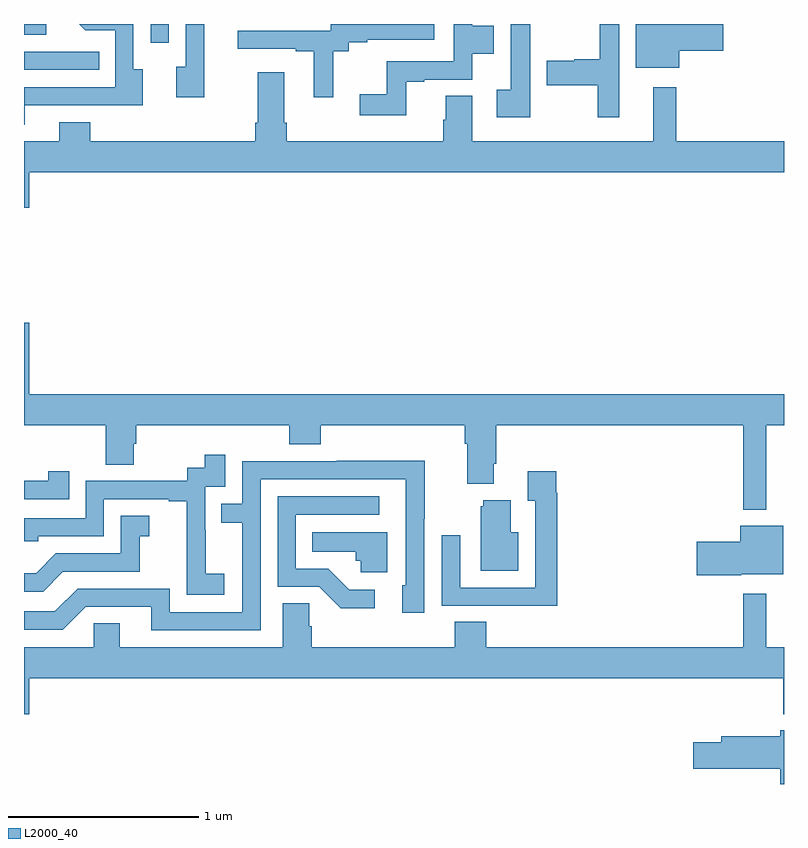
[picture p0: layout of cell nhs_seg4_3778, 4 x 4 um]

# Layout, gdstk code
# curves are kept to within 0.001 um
import gdstk
lib = gdstk.Library(unit=1e-6, precision=1e-09)
def R(c, l, rs):  # rectangles x0, y0, x1, y1
    for r in rs: c.add(gdstk.rectangle(r[:2], r[2:], *l))
def P(c, l, *ps):  # polygons
    for p in ps: c.add(gdstk.Polygon(p, *l))
L2000_40 = (2000, 40)

nhs_seg4_3778 = lib.new_cell('nhs_seg4_3778')
R(nhs_seg4_3778, L2000_40, [(309,830.658,309.395,830.754), (309.666,830.802,309.762,830.9), (309,830.843,309.118,830.9)])
P(nhs_seg4_3778, L2000_40, [(309.949,830.9),(309.852,830.9),(309.852,830.675),(309.801,830.675),(309.801,830.514),(309.949,830.514)],
  [(312.133,830.9),(312.029,830.9),(312.029,830.715),(311.895,830.715),(311.895,830.707),(311.75,830.707),(311.75,830.578),(312.019,830.578),(312.019,830.409),(312.133,830.409)],
  [(311.665,830.9),(311.561,830.9),(311.561,830.554),(311.487,830.554),(311.487,830.408),(311.665,830.408)],
  [(309.005,830.472),(309.625,830.472),(309.625,830.662),(309.576,830.662),(309.576,830.9),(309.291,830.9),(309.323,830.868),(309.48,830.868),(309.48,830.568),(309,830.568),(309,830.37),(309.005,830.37)],
  [(312.448,830.758),(312.679,830.758),(312.679,830.9),(312.221,830.9),(312.221,830.669),(312.448,830.669)],
  [(310.628,830.757),(310.71,830.757),(310.71,830.805),(310.807,830.805),(310.807,830.817),(311.158,830.817),(311.158,830.9),(310.614,830.9),(310.614,830.865),(310.125,830.865),(310.125,830.769),(310.43,830.769),(310.43,830.757),(310.526,830.757),(310.526,830.514),(310.628,830.514)],
  [(311.012,830.595),(311.107,830.595),(311.107,830.607),(311.36,830.607),(311.36,830.744),(311.473,830.744),(311.473,830.892),(311.359,830.892),(311.359,830.9),(311.262,830.9),(311.262,830.703),(310.909,830.703),(310.909,830.53),(310.767,830.53),(310.767,830.42),(311.012,830.42)],
  [(309.028,830.12),(313,830.12),(313,830.284),(312.433,830.284),(312.433,830.566),(312.311,830.566),(312.311,830.284),(311.359,830.284),(311.359,830.522),(311.219,830.522),(311.219,830.397),(311.207,830.397),(311.207,830.284),(310.382,830.284),(310.382,830.38),(310.369,830.38),(310.369,830.647),(310.229,830.647),(310.229,830.38),(310.217,830.38),(310.217,830.284),(309.349,830.284),(309.349,830.383),(309.185,830.383),(309.185,830.284),(309,830.284),(309,829.932),(309.028,829.932)],
  [(312.907,828.788),(313,828.788),(313,828.952),(309.028,828.952),(309.028,829.327),(309,829.327),(309,828.788),(309.43,828.788),(309.43,828.58),(309.577,828.58),(309.577,828.69),(309.59,828.69),(309.59,828.788),(310.397,828.788),(310.397,828.689),(310.562,828.689),(310.562,828.788),(311.321,828.788),(311.321,828.692),(311.333,828.692),(311.333,828.479),(311.473,828.479),(311.473,828.586),(311.486,828.586),(311.486,828.788),(312.786,828.788),(312.786,828.344),(312.907,828.344)],
  [(310.054,828.007),(309.956,828.007),(309.956,828.236),(309.954,828.236),(309.954,828.465),(310.059,828.465),(310.059,828.634),(309.951,828.634),(309.951,828.564),(309.858,828.564),(309.858,828.495),(309.324,828.495),(309.324,828.3),(309,828.3),(309,828.177),(309.075,828.177),(309.075,828.204),(309.42,828.204),(309.42,828.399),(309.761,828.399),(309.761,828.387),(309.857,828.387),(309.857,828.103),(309.856,828.103),(309.856,827.897),(310.054,827.897)],
  [(310.245,828.504),(311.009,828.504),(311.01,827.946),(310.991,827.946),(310.991,827.802),(311.106,827.802),(311.106,828.295),(311.109,828.295),(311.109,828.602),(310.645,828.602),(310.645,828.6),(310.149,828.6),(310.149,828.375),(310.039,828.375),(310.039,828.274),(310.149,828.274),(310.149,827.805),(309.768,827.805),(309.768,827.928),(309.282,827.928),(309.162,827.808),(309,827.808),(309,827.712),(309.204,827.712),(309.324,827.832),(309.671,827.832),(309.671,827.709),(310.245,827.709)],
  [(309.239,828.547),(309.128,828.547),(309.128,828.495),(309,828.495),(309,828.399),(309.239,828.399)],
  [(311.807,828.434),(311.8,828.434),(311.8,828.547),(311.651,828.547),(311.651,828.391),(311.691,828.391),(311.691,827.934),(311.295,827.934),(311.295,828.208),(311.199,828.208),(311.199,827.838),(311.515,827.838),(311.515,827.837),(311.807,827.837)],
  [(310.846,827.922),(310.711,827.922),(310.6,828.033),(310.431,828.033),(310.431,828.318),(310.87,828.318),(310.87,828.414),(310.335,828.414),(310.335,827.937),(310.554,827.937),(310.667,827.825),(310.846,827.825)],
  [(311.602,828.226),(311.563,828.226),(311.563,828.394),(311.417,828.394),(311.417,828.363),(311.405,828.363),(311.405,828.023),(311.602,828.023)],
  [(309.205,828.018),(309.609,828.018),(309.609,828.203),(309.658,828.203),(309.658,828.313),(309.51,828.313),(309.51,828.114),(309.168,828.114),(309.064,828.01),(309,828.01),(309,827.913),(309.1,827.913)],
  [(312.774,828.005),(312.997,828.005),(312.997,828.259),(312.77,828.259),(312.77,828.176),(312.54,828.176),(312.54,827.998),(312.774,827.998)],
  [(310.912,828.226),(310.516,828.226),(310.516,828.122),(310.747,828.122),(310.747,828.075),(310.773,828.075),(310.773,828.014),(310.912,828.014)],
  [(313,827.62),(312.907,827.62),(312.907,827.902),(312.786,827.902),(312.786,827.62),(311.432,827.62),(311.432,827.753),(311.267,827.753),(311.267,827.62),(310.514,827.62),(310.514,827.729),(310.5,827.729),(310.5,827.852),(310.361,827.852),(310.361,827.62),(309.505,827.62),(309.505,827.747),(309.366,827.747),(309.366,827.62),(309,827.62),(309,827.268),(309.028,827.268),(309.028,827.456),(312.995,827.456),(312.995,827.267),(313,827.267)],
  [(313,827.182),(312.98,827.182),(312.98,827.151),(312.671,827.151),(312.671,827.121),(312.522,827.121),(312.522,826.979),(312.98,826.979),(312.98,826.9),(313,826.9)])

lib.write_gds('nhs_seg4_3778.gds')
